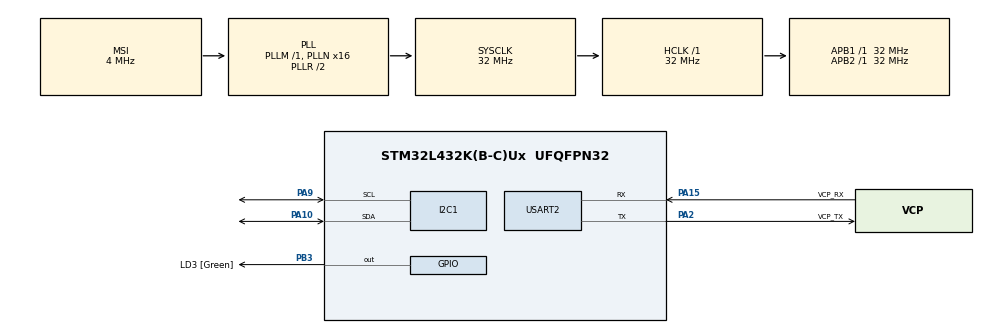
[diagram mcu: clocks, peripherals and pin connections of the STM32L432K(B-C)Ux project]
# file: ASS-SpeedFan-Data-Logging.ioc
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I2C1.Timing=0x00707CBB
Mcu.Family=STM32L4
Mcu.Name=STM32L432K(B-C)Ux
Mcu.Package=UFQFPN32
NVIC.PriorityGroup=NVIC_PRIORITYGROUP_4
PA0.GPIO_Label=MCO [High speed clock in]
PA0.Mode=HSE-External-Clock-Source-for-LittleOrca
PA0.Signal=RCC_CK_IN
PA10.Mode=I2C
PA10.Signal=I2C1_SDA
PA13\ (JTMS-SWDIO).GPIO_Label=SWDIO
PA13\ (JTMS-SWDIO).Mode=Serial_Wire
PA13\ (JTMS-SWDIO).Signal=SYS_JTMS-SWDIO
PA14\ (JTCK-SWCLK).GPIO_Label=SWCLK
PA14\ (JTCK-SWCLK).Mode=Serial_Wire
PA14\ (JTCK-SWCLK).Signal=SYS_JTCK-SWCLK
PA15\ (JTDI).GPIO_Label=VCP_RX
PA15\ (JTDI).Mode=Asynchronous
PA15\ (JTDI).Signal=USART2_RX
PA2.GPIO_Label=VCP_TX
PA2.Mode=Asynchronous
PA2.Signal=USART2_TX
PA9.Mode=I2C
PA9.Signal=I2C1_SCL
PB3\ (JTDO-TRACESWO).GPIO_Label=LD3 [Green]
PB3\ (JTDO-TRACESWO).Signal=GPIO_Output
PC14-OSC32_IN\ (PC14).Mode=LSE-External-Oscillator
PC14-OSC32_IN\ (PC14).Signal=RCC_OSC32_IN
PC15-OSC32_OUT\ (PC15).Mode=LSE-External-Oscillator
PC15-OSC32_OUT\ (PC15).Signal=RCC_OSC32_OUT
ProjectManager.HeapSize=0x200
ProjectManager.StackSize=0x400
ProjectManager.TargetToolchain=STM32CubeIDE
RCC.AHBFreq_Value=32000000
RCC.APB1Freq_Value=32000000
RCC.APB1TimFreq_Value=32000000
RCC.APB2Freq_Value=32000000
RCC.APB2TimFreq_Value=32000000
RCC.CortexFreq_Value=32000000
RCC.HCLKFreq_Value=32000000
RCC.HSE_VALUE=8000000
RCC.HSI16_VALUE=16000000
RCC.HSI48_VALUE=48000000
RCC.HSI_VALUE=16000000
RCC.MSI_VALUE=4000000
RCC.PLLMUL=RCC_PLLMUL_4
RCC.PLLN=16
RCC.SYSCLKFreq_VALUE=32000000
RCC.SYSCLKSource=RCC_SYSCLKSOURCE_PLLCLK
RCC.VCOOutputFreq_Value=64000000
USART2.VirtualMode-Asynchronous=VM_ASYNC
board=NUCLEO-L432KC

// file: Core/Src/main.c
/* USER CODE BEGIN Header */
/**
  ******************************************************************************
  * @file           : main.c
  * @brief          : Main program body
  ******************************************************************************
  * @attention
  *
  * Copyright (c) 2023 STMicroelectronics.
  * All rights reserved.
  *
  * This software is licensed under terms that can be found in the LICENSE file
  * in the root directory of this software component.
  * If no LICENSE file comes with this software, it is provided AS-IS.
  *
  ******************************************************************************
  */
/* USER CODE END Header */
#include "main.h"

/* USER CODE BEGIN Includes */
#include <stdio.h>
#include <string.h>
/* USER CODE END Includes */

/* USER CODE BEGIN PD */
#define LIS3DH_V_CHIP_ADDR (0x19 << 1)
#define LIS3DH_OUT_X_L 		0x28
#define BUFFER_SIZE			512
#define NB_AXES				3
#define LIS3DH_CTRL_REG1	0x20
#define LIS3DH_CTRL_REG4	0x23
/* USER CODE END PD */

I2C_HandleTypeDef hi2c1;

UART_HandleTypeDef huart2;

/* USER CODE BEGIN PV */
HAL_StatusTypeDef ret;
uint8_t buf[32];        // 8 bit unsigned byte with size of array buffer is 32
float acc_buffer[BUFFER_SIZE * NB_AXES] = {0};
/* USER CODE END PV */

void SystemClock_Config(void);
static void MX_GPIO_Init(void);
static void MX_USART2_UART_Init(void);
static void MX_I2C1_Init(void);

int main(void)
{

  /* MCU Configuration--------------------------------------------------------*/

  /* Reset of all peripherals, Initializes the Flash interface and the Systick. */
  HAL_Init();

  /* Configure the system clock */
  SystemClock_Config();

  /* Initialize all configured peripherals */
  MX_GPIO_Init();
  MX_USART2_UART_Init();
  MX_I2C1_Init();
  /* USER CODE BEGIN 2 */

  buf[0] = LIS3DH_CTRL_REG1;
  buf[1] = 0x97;
  /* ODR:1.34kHz, X, Y and Z Axis Enable */
  ret = HAL_I2C_Master_Transmit(&hi2c1, LIS3DH_V_CHIP_ADDR, buf, 2, HAL_MAX_DELAY);

  if (ret != HAL_OK) {
	  sprintf((char*)buf, "ErrorTx CTRL_REG1\r\n"); // formats and stores a series of characters and values in the array buffer which returns ErrorTx CTRL_REG1
	  HAL_UART_Transmit(&huart2, buf, strlen((char*)buf), HAL_MAX_DELAY); // Sends an amount of data in non blocking mode
  }

  buf[0] = LIS3DH_CTRL_REG4;
  buf[1] = 0x08;
  /* High resolution Enable */
  ret = HAL_I2C_Master_Transmit(&hi2c1, LIS3DH_V_CHIP_ADDR, buf, 2, HAL_MAX_DELAY);
  if (ret != HAL_OK) {
	  sprintf((char*)buf, "ErrorTx CTRL_REG4\r\n");  // formats and stores a series of characters and values in the array buffer which returns ErrorTx CTRL_REG1
	  HAL_UART_Transmit(&huart2, buf, strlen((char*)buf), HAL_MAX_DELAY);  // Sends an amount of data in non blocking mode
  }

  /* USER CODE END 2 */

  /* Infinite loop */
  while (1)
  {

    /* USER CODE BEGIN 3 */
	  /* building accelerometer buffers using raw accelerometer data */
	  /* we fill the accelerometer buffer */
	  for (uint16_t i = 0; i < BUFFER_SIZE; i++) {
		 buf[0] = LIS3DH_OUT_X_L | 0x80;
		 ret = HAL_I2C_Master_Transmit(&hi2c1, LIS3DH_V_CHIP_ADDR, buf, 1, HAL_MAX_DELAY);
		 if (ret != HAL_OK) {
			 i--;	//New data not ready, resense the data
		 }
		 else {
			 buf[0] = LIS3DH_OUT_X_L | 0x80 | 0x40;
			 ret = HAL_I2C_Master_Receive(&hi2c1, LIS3DH_V_CHIP_ADDR, buf, 6, HAL_MAX_DELAY);
			 if (ret != HAL_OK) {
				 i--;	//New data not ready, re-sense the data
			 } else {
				 acc_buffer[NB_AXES * i] = ((buf[1] << 8) | buf[0]);
				 acc_buffer[(NB_AXES * i) + 1] = ((buf[3] << 8) | buf[2]);
				 acc_buffer[(NB_AXES * i) + 2] = ((buf[5] << 8) | buf[4]);
			 }
		 }
	 }
	 /* print every line of data infinite */
	 for (uint16_t isample = 0; isample < (NB_AXES * BUFFER_SIZE - 1); isample++) {
		 sprintf((char*)buf,"%f ", acc_buffer[isample]);
		 HAL_UART_Transmit(&huart2, buf, strlen((char*)buf), HAL_MAX_DELAY); // Sends an amount of data in blocking mode
	 }
	 sprintf((char*)buf, "%f\r\n", acc_buffer[NB_AXES * BUFFER_SIZE - 1]);
	 HAL_UART_Transmit(&huart2, buf, strlen((char*)buf), HAL_MAX_DELAY); // Sends an amount of data in blocking mode
  }
  /* USER CODE END 3 */
}

void SystemClock_Config(void)
{
  RCC_OscInitTypeDef RCC_OscInitStruct = {0};
  RCC_ClkInitTypeDef RCC_ClkInitStruct = {0};

  /** Configure the main internal regulator output voltage
  */
  if (HAL_PWREx_ControlVoltageScaling(PWR_REGULATOR_VOLTAGE_SCALE1) != HAL_OK)
  {
    Error_Handler();
  }

  /** Configure LSE Drive Capability
  */
  HAL_PWR_EnableBkUpAccess();
  __HAL_RCC_LSEDRIVE_CONFIG(RCC_LSEDRIVE_LOW);

  /** Initializes the RCC Oscillators according to the specified parameters
  * in the RCC_OscInitTypeDef structure.
  */
  RCC_OscInitStruct.OscillatorType = RCC_OSCILLATORTYPE_LSE|RCC_OSCILLATORTYPE_MSI;
  RCC_OscInitStruct.LSEState = RCC_LSE_ON;
  RCC_OscInitStruct.MSIState = RCC_MSI_ON;
  RCC_OscInitStruct.MSICalibrationValue = 0;
  RCC_OscInitStruct.MSIClockRange = RCC_MSIRANGE_6;
  RCC_OscInitStruct.PLL.PLLState = RCC_PLL_ON;
  RCC_OscInitStruct.PLL.PLLSource = RCC_PLLSOURCE_MSI;
  RCC_OscInitStruct.PLL.PLLM = 1;
  RCC_OscInitStruct.PLL.PLLN = 16;
  RCC_OscInitStruct.PLL.PLLP = RCC_PLLP_DIV7;
  RCC_OscInitStruct.PLL.PLLQ = RCC_PLLQ_DIV2;
  RCC_OscInitStruct.PLL.PLLR = RCC_PLLR_DIV2;
  if (HAL_RCC_OscConfig(&RCC_OscInitStruct) != HAL_OK)
  {
    Error_Handler();
  }

  /** Initializes the CPU, AHB and APB buses clocks
  */
  RCC_ClkInitStruct.ClockType = RCC_CLOCKTYPE_HCLK|RCC_CLOCKTYPE_SYSCLK
                              |RCC_CLOCKTYPE_PCLK1|RCC_CLOCKTYPE_PCLK2;
  RCC_ClkInitStruct.SYSCLKSource = RCC_SYSCLKSOURCE_PLLCLK;
  RCC_ClkInitStruct.AHBCLKDivider = RCC_SYSCLK_DIV1;
  RCC_ClkInitStruct.APB1CLKDivider = RCC_HCLK_DIV1;
  RCC_ClkInitStruct.APB2CLKDivider = RCC_HCLK_DIV1;

  if (HAL_RCC_ClockConfig(&RCC_ClkInitStruct, FLASH_LATENCY_1) != HAL_OK)
  {
    Error_Handler();
  }

  /** Enable MSI Auto calibration
  */
  HAL_RCCEx_EnableMSIPLLMode();
}

static void MX_I2C1_Init(void)
{

  hi2c1.Instance = I2C1;
  hi2c1.Init.Timing = 0x00707CBB;
  hi2c1.Init.OwnAddress1 = 0;
  hi2c1.Init.AddressingMode = I2C_ADDRESSINGMODE_7BIT;
  hi2c1.Init.DualAddressMode = I2C_DUALADDRESS_DISABLE;
  hi2c1.Init.OwnAddress2 = 0;
  hi2c1.Init.OwnAddress2Masks = I2C_OA2_NOMASK;
  hi2c1.Init.GeneralCallMode = I2C_GENERALCALL_DISABLE;
  hi2c1.Init.NoStretchMode = I2C_NOSTRETCH_DISABLE;
  if (HAL_I2C_Init(&hi2c1) != HAL_OK)
  {
    Error_Handler();
  }

  /** Configure Analogue filter
  */
  if (HAL_I2CEx_ConfigAnalogFilter(&hi2c1, I2C_ANALOGFILTER_ENABLE) != HAL_OK)
  {
    Error_Handler();
  }

  /** Configure Digital filter
  */
  if (HAL_I2CEx_ConfigDigitalFilter(&hi2c1, 0) != HAL_OK)
  {
    Error_Handler();
  }

}

static void MX_USART2_UART_Init(void)
{

  huart2.Instance = USART2;
  huart2.Init.BaudRate = 115200;
  huart2.Init.WordLength = UART_WORDLENGTH_8B;
  huart2.Init.StopBits = UART_STOPBITS_1;
  huart2.Init.Parity = UART_PARITY_NONE;
  huart2.Init.Mode = UART_MODE_TX_RX;
  huart2.Init.HwFlowCtl = UART_HWCONTROL_NONE;
  huart2.Init.OverSampling = UART_OVERSAMPLING_16;
  huart2.Init.OneBitSampling = UART_ONE_BIT_SAMPLE_DISABLE;
  huart2.AdvancedInit.AdvFeatureInit = UART_ADVFEATURE_NO_INIT;
  if (HAL_UART_Init(&huart2) != HAL_OK)
  {
    Error_Handler();
  }

}

static void MX_GPIO_Init(void)
{
  GPIO_InitTypeDef GPIO_InitStruct = {0};

  /* GPIO Ports Clock Enable */
  __HAL_RCC_GPIOC_CLK_ENABLE();
  __HAL_RCC_GPIOA_CLK_ENABLE();
  __HAL_RCC_GPIOB_CLK_ENABLE();

  /*Configure GPIO pin Output Level */
  HAL_GPIO_WritePin(LD3_GPIO_Port, LD3_Pin, GPIO_PIN_RESET);

  /*Configure GPIO pin : LD3_Pin */
  GPIO_InitStruct.Pin = LD3_Pin;
  GPIO_InitStruct.Mode = GPIO_MODE_OUTPUT_PP;
  GPIO_InitStruct.Pull = GPIO_NOPULL;
  GPIO_InitStruct.Speed = GPIO_SPEED_FREQ_LOW;
  HAL_GPIO_Init(LD3_GPIO_Port, &GPIO_InitStruct);

}

void Error_Handler(void)
{
  __disable_irq();
  while (1)
  {
  }
}
